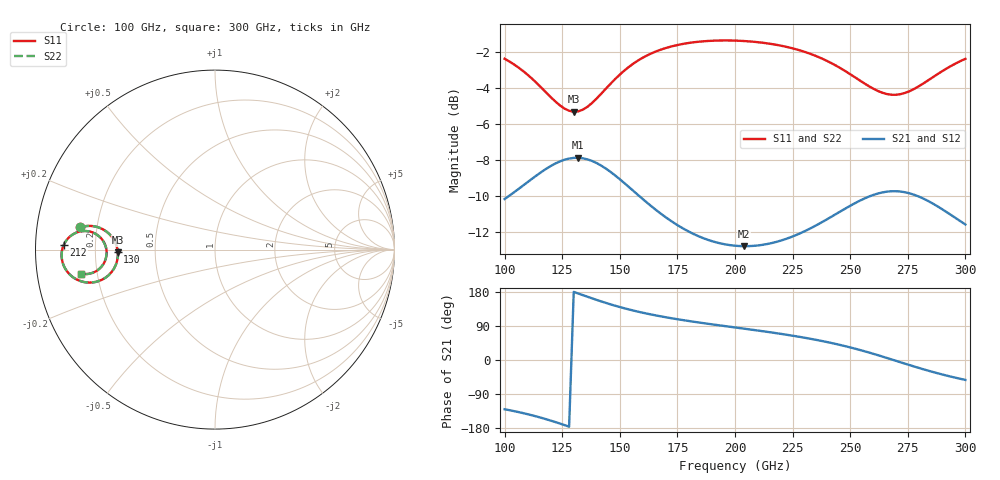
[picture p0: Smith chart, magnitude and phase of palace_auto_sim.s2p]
#  GHZ S DB R 50
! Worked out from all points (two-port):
!   101 points, 100 GHz to 300 GHz, reference 50 ohm
!   highest |S21| = -7.89 dB at 132 GHz (marker M1); lowest = -12.8 dB at 204 GHz (marker M2)
!   |S21| within 3 dB of the highest: start of sweep to 166.7 GHz; 245.5 GHz to 291.6 GHz (46.08 GHz wide, 17.2 % of centre)
!   lowest |S11| = -5.3 dB at 130 GHz (marker M3), VSWR 3.36, Z = 14.9 - j0.633 ohm
!   |S11| at or under -10 dB: nowhere
!   |S22| runs from -5.3 to -1.4 dB; largest |S21 - S12| = 4e-14
!   S11 on the Smith chart (normalised r, x): 100 GHz: 0.14, +0.08; 130 GHz: 0.30, -0.01; 212 GHz: 0.09, +0.02; 300 GHz: 0.14, -0.09
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100  -2.37 170.6  -10.18 -130.0  -10.18 -130.0  -2.38 170.6
108  -3.06 169.2  -9.43 -140.1  -9.43 -140.1  -3.06 169.2
116  -3.99 169.8  -8.68 -152.7  -8.68 -152.7  -3.99 169.8
124  -4.97 174.7  -8.09 -167.7  -8.09 -167.7  -4.97 174.7
130  -5.32 -178.4  -7.89 179.7  -7.89 179.7  -5.33 -178.4
132  -5.30 -175.9  -7.89 175.4  -7.89 175.4  -5.30 -175.9
134  -5.21 -173.4  -7.92 171.1  -7.92 171.1  -5.21 -173.4
142  -4.31 -166.5  -8.33 154.5  -8.33 154.5  -4.31 -166.5
150  -3.26 -164.8  -9.08 139.8  -9.08 139.8  -3.26 -164.8
158  -2.47 -166.1  -9.97 127.4  -9.97 127.4  -2.47 -166.1
168  -1.86 -169.1  -11.02 115.0  -11.02 115.0  -1.86 -169.1
182  -1.46 -173.5  -12.13 101.0  -12.13 101.0  -1.46 -173.5
200  -1.37 -178.6  -12.78 85.9  -12.78 85.9  -1.36 -178.6
204  -1.39 -179.7  -12.81 82.7  -12.81 82.7  -1.39 -179.7
212  -1.48 178.2  -12.73 76.0  -12.73 76.0  -1.48 178.2
234  -2.16 173.1  -11.73 54.6  -11.73 54.6  -2.16 173.1
252  -3.40 172.3  -10.42 30.1  -10.42 30.1  -3.39 172.3
260  -4.04 175.2  -9.96 16.4  -9.96 16.4  -4.03 175.2
268  -4.38 -179.4  -9.75 1.4  -9.75 1.4  -4.37 -179.4
276  -4.17 -173.6  -9.87 -13.9  -9.87 -13.9  -4.16 -173.6
284  -3.56 -170.1  -10.30 -28.4  -10.30 -28.4  -3.55 -170.1
300  -2.38 -169.9  -11.60 -52.6  -11.60 -52.6  -2.38 -169.9
